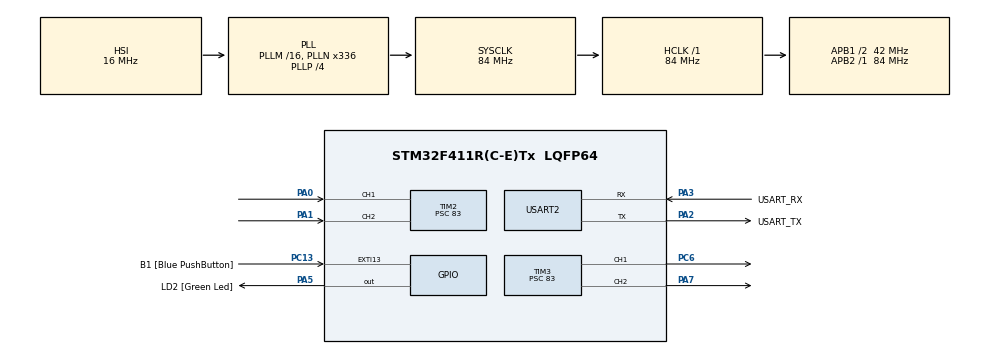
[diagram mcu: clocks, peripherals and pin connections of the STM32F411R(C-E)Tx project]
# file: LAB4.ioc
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Mcu.Family=STM32F4
Mcu.Name=STM32F411R(C-E)Tx
Mcu.Package=LQFP64
NVIC.PriorityGroup=NVIC_PRIORITYGROUP_0
PA0-WKUP.Signal=S_TIM2_CH1_ETR
PA1.Signal=S_TIM2_CH2
PA13.GPIO_Label=TMS
PA13.Mode=Serial_Wire
PA13.Signal=SYS_JTMS-SWDIO
PA14.GPIO_Label=TCK
PA14.Mode=Serial_Wire
PA14.Signal=SYS_JTCK-SWCLK
PA2.GPIO_Label=USART_TX
PA2.Mode=Asynchronous
PA2.Signal=USART2_TX
PA3.GPIO_Label=USART_RX
PA3.Mode=Asynchronous
PA3.Signal=USART2_RX
PA5.GPIO_Label=LD2 [Green Led]
PA5.Signal=GPIO_Output
PA7.Signal=S_TIM3_CH2
PB3.GPIO_Label=SWO
PB3.Signal=SYS_JTDO-SWO
PC13-ANTI_TAMP.GPIO_Label=B1 [Blue PushButton]
PC13-ANTI_TAMP.GPIO_ModeDefaultEXTI=GPIO_MODE_IT_FALLING
PC13-ANTI_TAMP.Signal=GPXTI13
PC14-OSC32_IN.Mode=LSE-External-Oscillator
PC14-OSC32_IN.Signal=RCC_OSC32_IN
PC15-OSC32_OUT.Mode=LSE-External-Oscillator
PC15-OSC32_OUT.Signal=RCC_OSC32_OUT
PC6.Signal=S_TIM3_CH1
PH0\ -\ OSC_IN.Mode=HSE-External-Clock-Source
PH0\ -\ OSC_IN.Signal=RCC_OSC_IN
PH1\ -\ OSC_OUT.Mode=HSE-External-Clock-Source
PH1\ -\ OSC_OUT.Signal=RCC_OSC_OUT
ProjectManager.HeapSize=0x200
ProjectManager.StackSize=0x400
ProjectManager.TargetToolchain=STM32CubeIDE
RCC.48MHZClocksFreq_Value=84000000
RCC.AHBFreq_Value=84000000
RCC.APB1CLKDivider=RCC_HCLK_DIV2
RCC.APB1Freq_Value=42000000
RCC.APB1TimFreq_Value=84000000
RCC.APB2Freq_Value=84000000
RCC.APB2TimFreq_Value=84000000
RCC.CortexFreq_Value=84000000
RCC.FLatency-AdvancedSettings=FLASH_LATENCY_2
RCC.HCLKFreq_Value=84000000
RCC.HSE_VALUE=8000000
RCC.HSI_VALUE=16000000
RCC.PLLN=336
RCC.PLLP=RCC_PLLP_DIV4
RCC.SYSCLKFreq_VALUE=84000000
RCC.SYSCLKSource=RCC_SYSCLKSOURCE_PLLCLK
RCC.VCOOutputFreq_Value=336000000
SH.S_TIM2_CH1_ETR.0=TIM2_CH1,Encoder_Interface
SH.S_TIM2_CH2.0=TIM2_CH2,Encoder_Interface
SH.S_TIM3_CH1.0=TIM3_CH1,PWM Generation1 CH1
SH.S_TIM3_CH2.0=TIM3_CH2,PWM Generation2 CH2
TIM1.Period=999
TIM1.Prescaler=83
TIM2.EncoderMode=TIM_ENCODERMODE_TI12
TIM2.Period=307199
TIM2.Prescaler=83
TIM3.Channel-PWM\ Generation1\ CH1=TIM_CHANNEL_1
TIM3.Channel-PWM\ Generation2\ CH2=TIM_CHANNEL_2
TIM3.OCMode_PWM-PWM\ Generation2\ CH2=TIM_OCMODE_PWM1
TIM3.Period=1000
TIM3.Prescaler=83
TIM3.Pulse-PWM\ Generation1\ CH1=0
USART2.VirtualMode=VM_ASYNC
VP_TIM1_VS_ClockSourceINT.Mode=Internal
VP_TIM3_VS_ClockSourceINT.Mode=Internal
board=NUCLEO-F411RE

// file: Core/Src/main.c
/* USER CODE BEGIN Header */
/**
  ******************************************************************************
  * @file           : main.c
  * @brief          : Main program body
  ******************************************************************************
  * @attention
  *
  * Copyright (c) 2023 STMicroelectronics.
  * All rights reserved.
  *
  * This software is licensed under terms that can be found in the LICENSE file
  * in the root directory of this software component.
  * If no LICENSE file comes with this software, it is provided AS-IS.
  *
  ******************************************************************************
  */
/* USER CODE END Header */
#include "main.h"

/* USER CODE BEGIN Includes */
#include "math.h"
/* USER CODE END Includes */

TIM_HandleTypeDef htim1;
TIM_HandleTypeDef htim2;
TIM_HandleTypeDef htim3;

UART_HandleTypeDef huart2;

/* USER CODE BEGIN PV */
uint32_t QEIReadRaw;
float angle;
uint32_t duty = 0;

float kd = 0.0;
float kp = 0.0;
float ki = 0.0;
float er = 0.0;
float eri = 0.0;
float erd = 0.0;
float erp = 0.0;
float u = 0.0;

int Rote = 0;

int Traget  = 0;

/* USER CODE END PV */

void SystemClock_Config(void);
static void MX_GPIO_Init(void);
static void MX_USART2_UART_Init(void);
static void MX_TIM1_Init(void);
static void MX_TIM2_Init(void);
static void MX_TIM3_Init(void);

int main(void)
{

  /* MCU Configuration--------------------------------------------------------*/

  /* Reset of all peripherals, Initializes the Flash interface and the Systick. */
  HAL_Init();

  /* Configure the system clock */
  SystemClock_Config();

  /* Initialize all configured peripherals */
  MX_GPIO_Init();
  MX_USART2_UART_Init();
  MX_TIM1_Init();
  MX_TIM2_Init();
  MX_TIM3_Init();
  /* USER CODE BEGIN 2 */
  HAL_TIM_Encoder_Start(&htim2, TIM_CHANNEL_1|TIM_CHANNEL_2);

  HAL_TIM_Base_Start(&htim3);
  HAL_TIM_PWM_Start(&htim3, TIM_CHANNEL_1);
  HAL_TIM_PWM_Start(&htim3, TIM_CHANNEL_2);
  /* USER CODE END 2 */

  /* Infinite loop */
  while (1)
  {

    /* USER CODE BEGIN 3 */
	  static uint32_t timestamp = 0;
	  if (HAL_GetTick()>= timestamp)
	  {
		  timestamp = HAL_GetTick()+500;

		  QEIReadRaw = __HAL_TIM_GET_COUNTER(&htim2);
		  angle = (QEIReadRaw*360)/3072.0;
	  }
	  er = Traget - angle;
	  eri = eri+(er*500);
	  erd = (er-erp)/500.0;
	  u = (kp*er)+(ki*eri)+(kd*erd);
	  erp = er;

	  //u = fabs(u);

	  duty = fabs(u);

	  if(duty > 100)
	  {
		  duty = 100;
	  }

//	  if(duty < 0){
//		  duty = 0;
//	  }
	  Rote = 0;

	  if (u<0)
	  {
	  	Rote = -1;
	  }

	  if(Rote == 0)
	  {
		  __HAL_TIM_SET_COMPARE(&htim3,TIM_CHANNEL_1,duty*10);
		  __HAL_TIM_SET_COMPARE(&htim3,TIM_CHANNEL_2,0);
	  }

	  if(Rote == -1)
	  {
		  __HAL_TIM_SET_COMPARE(&htim3,TIM_CHANNEL_1,0);
		  __HAL_TIM_SET_COMPARE(&htim3,TIM_CHANNEL_2,duty*10);
	  }

  }
  /* USER CODE END 3 */
}

void SystemClock_Config(void)
{
  RCC_OscInitTypeDef RCC_OscInitStruct = {0};
  RCC_ClkInitTypeDef RCC_ClkInitStruct = {0};

  /** Configure the main internal regulator output voltage
  */
  __HAL_RCC_PWR_CLK_ENABLE();
  __HAL_PWR_VOLTAGESCALING_CONFIG(PWR_REGULATOR_VOLTAGE_SCALE1);

  /** Initializes the RCC Oscillators according to the specified parameters
  * in the RCC_OscInitTypeDef structure.
  */
  RCC_OscInitStruct.OscillatorType = RCC_OSCILLATORTYPE_HSI;
  RCC_OscInitStruct.HSIState = RCC_HSI_ON;
  RCC_OscInitStruct.HSICalibrationValue = RCC_HSICALIBRATION_DEFAULT;
  RCC_OscInitStruct.PLL.PLLState = RCC_PLL_ON;
  RCC_OscInitStruct.PLL.PLLSource = RCC_PLLSOURCE_HSI;
  RCC_OscInitStruct.PLL.PLLM = 16;
  RCC_OscInitStruct.PLL.PLLN = 336;
  RCC_OscInitStruct.PLL.PLLP = RCC_PLLP_DIV4;
  RCC_OscInitStruct.PLL.PLLQ = 4;
  if (HAL_RCC_OscConfig(&RCC_OscInitStruct) != HAL_OK)
  {
    Error_Handler();
  }

  /** Initializes the CPU, AHB and APB buses clocks
  */
  RCC_ClkInitStruct.ClockType = RCC_CLOCKTYPE_HCLK|RCC_CLOCKTYPE_SYSCLK
                              |RCC_CLOCKTYPE_PCLK1|RCC_CLOCKTYPE_PCLK2;
  RCC_ClkInitStruct.SYSCLKSource = RCC_SYSCLKSOURCE_PLLCLK;
  RCC_ClkInitStruct.AHBCLKDivider = RCC_SYSCLK_DIV1;
  RCC_ClkInitStruct.APB1CLKDivider = RCC_HCLK_DIV2;
  RCC_ClkInitStruct.APB2CLKDivider = RCC_HCLK_DIV1;

  if (HAL_RCC_ClockConfig(&RCC_ClkInitStruct, FLASH_LATENCY_2) != HAL_OK)
  {
    Error_Handler();
  }
}

static void MX_TIM1_Init(void)
{

  TIM_ClockConfigTypeDef sClockSourceConfig = {0};
  TIM_MasterConfigTypeDef sMasterConfig = {0};

  htim1.Instance = TIM1;
  htim1.Init.Prescaler = 83;
  htim1.Init.CounterMode = TIM_COUNTERMODE_UP;
  htim1.Init.Period = 999;
  htim1.Init.ClockDivision = TIM_CLOCKDIVISION_DIV1;
  htim1.Init.RepetitionCounter = 0;
  htim1.Init.AutoReloadPreload = TIM_AUTORELOAD_PRELOAD_DISABLE;
  if (HAL_TIM_Base_Init(&htim1) != HAL_OK)
  {
    Error_Handler();
  }
  sClockSourceConfig.ClockSource = TIM_CLOCKSOURCE_INTERNAL;
  if (HAL_TIM_ConfigClockSource(&htim1, &sClockSourceConfig) != HAL_OK)
  {
    Error_Handler();
  }
  sMasterConfig.MasterOutputTrigger = TIM_TRGO_RESET;
  sMasterConfig.MasterSlaveMode = TIM_MASTERSLAVEMODE_DISABLE;
  if (HAL_TIMEx_MasterConfigSynchronization(&htim1, &sMasterConfig) != HAL_OK)
  {
    Error_Handler();
  }

}

static void MX_TIM2_Init(void)
{

  TIM_Encoder_InitTypeDef sConfig = {0};
  TIM_MasterConfigTypeDef sMasterConfig = {0};

  htim2.Instance = TIM2;
  htim2.Init.Prescaler = 83;
  htim2.Init.CounterMode = TIM_COUNTERMODE_UP;
  htim2.Init.Period = 307199;
  htim2.Init.ClockDivision = TIM_CLOCKDIVISION_DIV1;
  htim2.Init.AutoReloadPreload = TIM_AUTORELOAD_PRELOAD_DISABLE;
  sConfig.EncoderMode = TIM_ENCODERMODE_TI12;
  sConfig.IC1Polarity = TIM_ICPOLARITY_RISING;
  sConfig.IC1Selection = TIM_ICSELECTION_DIRECTTI;
  sConfig.IC1Prescaler = TIM_ICPSC_DIV1;
  sConfig.IC1Filter = 0;
  sConfig.IC2Polarity = TIM_ICPOLARITY_RISING;
  sConfig.IC2Selection = TIM_ICSELECTION_DIRECTTI;
  sConfig.IC2Prescaler = TIM_ICPSC_DIV1;
  sConfig.IC2Filter = 0;
  if (HAL_TIM_Encoder_Init(&htim2, &sConfig) != HAL_OK)
  {
    Error_Handler();
  }
  sMasterConfig.MasterOutputTrigger = TIM_TRGO_RESET;
  sMasterConfig.MasterSlaveMode = TIM_MASTERSLAVEMODE_DISABLE;
  if (HAL_TIMEx_MasterConfigSynchronization(&htim2, &sMasterConfig) != HAL_OK)
  {
    Error_Handler();
  }

}

static void MX_TIM3_Init(void)
{

  TIM_ClockConfigTypeDef sClockSourceConfig = {0};
  TIM_MasterConfigTypeDef sMasterConfig = {0};
  TIM_OC_InitTypeDef sConfigOC = {0};

  htim3.Instance = TIM3;
  htim3.Init.Prescaler = 83;
  htim3.Init.CounterMode = TIM_COUNTERMODE_UP;
  htim3.Init.Period = 1000;
  htim3.Init.ClockDivision = TIM_CLOCKDIVISION_DIV1;
  htim3.Init.AutoReloadPreload = TIM_AUTORELOAD_PRELOAD_DISABLE;
  if (HAL_TIM_Base_Init(&htim3) != HAL_OK)
  {
    Error_Handler();
  }
  sClockSourceConfig.ClockSource = TIM_CLOCKSOURCE_INTERNAL;
  if (HAL_TIM_ConfigClockSource(&htim3, &sClockSourceConfig) != HAL_OK)
  {
    Error_Handler();
  }
  if (HAL_TIM_PWM_Init(&htim3) != HAL_OK)
  {
    Error_Handler();
  }
  sMasterConfig.MasterOutputTrigger = TIM_TRGO_RESET;
  sMasterConfig.MasterSlaveMode = TIM_MASTERSLAVEMODE_DISABLE;
  if (HAL_TIMEx_MasterConfigSynchronization(&htim3, &sMasterConfig) != HAL_OK)
  {
    Error_Handler();
  }
  sConfigOC.OCMode = TIM_OCMODE_PWM1;
  sConfigOC.Pulse = 0;
  sConfigOC.OCPolarity = TIM_OCPOLARITY_HIGH;
  sConfigOC.OCFastMode = TIM_OCFAST_DISABLE;
  if (HAL_TIM_PWM_ConfigChannel(&htim3, &sConfigOC, TIM_CHANNEL_1) != HAL_OK)
  {
    Error_Handler();
  }
  if (HAL_TIM_PWM_ConfigChannel(&htim3, &sConfigOC, TIM_CHANNEL_2) != HAL_OK)
  {
    Error_Handler();
  }
  HAL_TIM_MspPostInit(&htim3);

}

static void MX_USART2_UART_Init(void)
{

  huart2.Instance = USART2;
  huart2.Init.BaudRate = 115200;
  huart2.Init.WordLength = UART_WORDLENGTH_8B;
  huart2.Init.StopBits = UART_STOPBITS_1;
  huart2.Init.Parity = UART_PARITY_NONE;
  huart2.Init.Mode = UART_MODE_TX_RX;
  huart2.Init.HwFlowCtl = UART_HWCONTROL_NONE;
  huart2.Init.OverSampling = UART_OVERSAMPLING_16;
  if (HAL_UART_Init(&huart2) != HAL_OK)
  {
    Error_Handler();
  }

}

static void MX_GPIO_Init(void)
{
  GPIO_InitTypeDef GPIO_InitStruct = {0};

  /* GPIO Ports Clock Enable */
  __HAL_RCC_GPIOC_CLK_ENABLE();
  __HAL_RCC_GPIOH_CLK_ENABLE();
  __HAL_RCC_GPIOA_CLK_ENABLE();
  __HAL_RCC_GPIOB_CLK_ENABLE();

  /*Configure GPIO pin Output Level */
  HAL_GPIO_WritePin(LD2_GPIO_Port, LD2_Pin, GPIO_PIN_RESET);

  /*Configure GPIO pin : B1_Pin */
  GPIO_InitStruct.Pin = B1_Pin;
  GPIO_InitStruct.Mode = GPIO_MODE_IT_FALLING;
  GPIO_InitStruct.Pull = GPIO_NOPULL;
  HAL_GPIO_Init(B1_GPIO_Port, &GPIO_InitStruct);

  /*Configure GPIO pin : LD2_Pin */
  GPIO_InitStruct.Pin = LD2_Pin;
  GPIO_InitStruct.Mode = GPIO_MODE_OUTPUT_PP;
  GPIO_InitStruct.Pull = GPIO_NOPULL;
  GPIO_InitStruct.Speed = GPIO_SPEED_FREQ_LOW;
  HAL_GPIO_Init(LD2_GPIO_Port, &GPIO_InitStruct);

}

void Error_Handler(void)
{
  __disable_irq();
  while (1)
  {
  }
}
